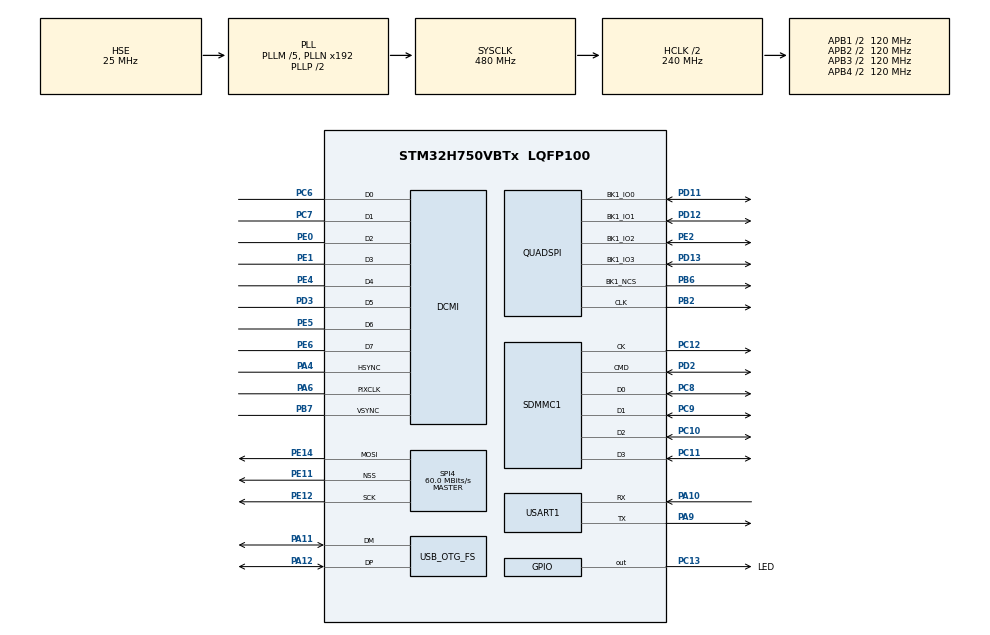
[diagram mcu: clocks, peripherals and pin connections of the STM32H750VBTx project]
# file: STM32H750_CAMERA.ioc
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CORTEX_M7.CPU_DCache=Enabled
CORTEX_M7.CPU_ICache=Enabled
CORTEX_M7.default_mode_Activation=0
Mcu.Family=STM32H7
Mcu.Name=STM32H750VBTx
Mcu.Package=LQFP100
NVIC.OTG_FS_IRQn=true\:0\:0\:false\:false\:true\:true\:true\:true
NVIC.PriorityGroup=NVIC_PRIORITYGROUP_4
PA10.GPIO_Speed=GPIO_SPEED_FREQ_VERY_HIGH
PA10.Mode=Asynchronous
PA10.Signal=USART1_RX
PA11.Mode=Device_Only
PA11.Signal=USB_OTG_FS_DM
PA12.Mode=Device_Only
PA12.Signal=USB_OTG_FS_DP
PA13\ (JTMS/SWDIO).Mode=Serial_Wire
PA13\ (JTMS/SWDIO).Signal=DEBUG_JTMS-SWDIO
PA14\ (JTCK/SWCLK).Mode=Serial_Wire
PA14\ (JTCK/SWCLK).Signal=DEBUG_JTCK-SWCLK
PA4.GPIO_Speed=GPIO_SPEED_FREQ_VERY_HIGH
PA4.Mode=Slave_8_bits_External_Synchro
PA4.Signal=DCMI_HSYNC
PA6.GPIO_Speed=GPIO_SPEED_FREQ_VERY_HIGH
PA6.Mode=Slave_8_bits_External_Synchro
PA6.Signal=DCMI_PIXCLK
PA9.GPIO_Speed=GPIO_SPEED_FREQ_VERY_HIGH
PA9.Mode=Asynchronous
PA9.Signal=USART1_TX
PB2.GPIO_Speed=GPIO_SPEED_FREQ_VERY_HIGH
PB2.Mode=Single Bank 1
PB2.Signal=QUADSPI_CLK
PB6.GPIO_Speed=GPIO_SPEED_FREQ_VERY_HIGH
PB6.Mode=Single Bank 1
PB6.Signal=QUADSPI_BK1_NCS
PB7.GPIO_Speed=GPIO_SPEED_FREQ_VERY_HIGH
PB7.Mode=Slave_8_bits_External_Synchro
PB7.Signal=DCMI_VSYNC
PC10.Mode=SD_4_bits_Wide_bus
PC10.Signal=SDMMC1_D2
PC11.Mode=SD_4_bits_Wide_bus
PC11.Signal=SDMMC1_D3
PC12.Mode=SD_4_bits_Wide_bus
PC12.Signal=SDMMC1_CK
PC13.GPIO_Label=LED
PC13.Signal=GPIO_Output
PC14-OSC32_IN\ (OSC32_IN).Mode=LSE-External-Oscillator
PC14-OSC32_IN\ (OSC32_IN).Signal=RCC_OSC32_IN
PC15-OSC32_OUT\ (OSC32_OUT).Mode=LSE-External-Oscillator
PC15-OSC32_OUT\ (OSC32_OUT).Signal=RCC_OSC32_OUT
PC6.GPIO_Speed=GPIO_SPEED_FREQ_VERY_HIGH
PC6.Mode=Slave_8_bits_External_Synchro
PC6.Signal=DCMI_D0
PC7.GPIO_Speed=GPIO_SPEED_FREQ_VERY_HIGH
PC7.Mode=Slave_8_bits_External_Synchro
PC7.Signal=DCMI_D1
PC8.Mode=SD_4_bits_Wide_bus
PC8.Signal=SDMMC1_D0
PC9.Mode=SD_4_bits_Wide_bus
PC9.Signal=SDMMC1_D1
PD11.GPIO_Speed=GPIO_SPEED_FREQ_VERY_HIGH
PD11.Mode=Single Bank 1
PD11.Signal=QUADSPI_BK1_IO0
PD12.GPIO_Speed=GPIO_SPEED_FREQ_VERY_HIGH
PD12.Mode=Single Bank 1
PD12.Signal=QUADSPI_BK1_IO1
PD13.GPIO_Speed=GPIO_SPEED_FREQ_VERY_HIGH
PD13.Mode=Single Bank 1
PD13.Signal=QUADSPI_BK1_IO3
PD2.Mode=SD_4_bits_Wide_bus
PD2.Signal=SDMMC1_CMD
PD3.GPIO_Speed=GPIO_SPEED_FREQ_VERY_HIGH
PD3.Mode=Slave_8_bits_External_Synchro
PD3.Signal=DCMI_D5
PE0.GPIO_Speed=GPIO_SPEED_FREQ_VERY_HIGH
PE0.Mode=Slave_8_bits_External_Synchro
PE0.Signal=DCMI_D2
PE1.GPIO_Speed=GPIO_SPEED_FREQ_VERY_HIGH
PE1.Mode=Slave_8_bits_External_Synchro
PE1.Signal=DCMI_D3
PE11.GPIO_Speed=GPIO_SPEED_FREQ_VERY_HIGH
PE11.Mode=NSS_Signal_Hard_Output
PE11.Signal=SPI4_NSS
PE12.GPIO_Speed=GPIO_SPEED_FREQ_VERY_HIGH
PE12.Mode=TX_Only_Simplex_Unidirect_Master
PE12.Signal=SPI4_SCK
PE14.GPIO_Speed=GPIO_SPEED_FREQ_VERY_HIGH
PE14.Mode=TX_Only_Simplex_Unidirect_Master
PE14.Signal=SPI4_MOSI
PE2.GPIO_Speed=GPIO_SPEED_FREQ_VERY_HIGH
PE2.Mode=Single Bank 1
PE2.Signal=QUADSPI_BK1_IO2
PE4.GPIO_Speed=GPIO_SPEED_FREQ_VERY_HIGH
PE4.Mode=Slave_8_bits_External_Synchro
PE4.Signal=DCMI_D4
PE5.GPIO_Speed=GPIO_SPEED_FREQ_VERY_HIGH
PE5.Mode=Slave_8_bits_External_Synchro
PE5.Signal=DCMI_D6
PE6.GPIO_Speed=GPIO_SPEED_FREQ_VERY_HIGH
PE6.Mode=Slave_8_bits_External_Synchro
PE6.Signal=DCMI_D7
PH0-OSC_IN\ (PH0).Mode=HSE-External-Oscillator
PH0-OSC_IN\ (PH0).Signal=RCC_OSC_IN
PH1-OSC_OUT\ (PH1).Mode=HSE-External-Oscillator
PH1-OSC_OUT\ (PH1).Signal=RCC_OSC_OUT
ProjectManager.HeapSize=0x200
ProjectManager.StackSize=0x400
ProjectManager.TargetToolchain=STM32CubeIDE
QUADSPI.ClockMode=QSPI_CLOCK_MODE_3
QUADSPI.ClockPrescaler=2
QUADSPI.FifoThreshold=32
QUADSPI.FlashSize=22
QUADSPI.SampleShifting=QSPI_SAMPLE_SHIFTING_HALFCYCLE
RCC.ADCFreq_Value=50390625
RCC.APB1Freq_Value=120000000
RCC.APB2Freq_Value=120000000
RCC.APB3Freq_Value=120000000
RCC.APB4Freq_Value=120000000
RCC.CortexFreq_Value=480000000
RCC.D1PPRE=RCC_APB3_DIV2
RCC.D2PPRE1=RCC_APB1_DIV2
RCC.D2PPRE2=RCC_APB2_DIV2
RCC.D3PPRE=RCC_APB4_DIV2
RCC.DIVM1=5
RCC.DIVN1=192
RCC.DIVQ1=4
RCC.HCLKFreq_Value=240000000
RCC.HPRE=RCC_HCLK_DIV2
RCC.PLLSourceVirtual=RCC_PLLSOURCE_HSE
RCC.RTCClockSelection=RCC_RTCCLKSOURCE_LSE
RCC.SYSCLKFreq_VALUE=480000000
RCC.SYSCLKSource=RCC_SYSCLKSOURCE_PLLCLK
RCC.USBCLockSelection=RCC_USBCLKSOURCE_HSI48
RCC.USBFreq_Value=48000000
SDMMC1.ClockDiv=6
SPI4.BaudRatePrescaler=SPI_BAUDRATEPRESCALER_2
SPI4.CalculateBaudRate=60.0 MBits/s
SPI4.DataSize=SPI_DATASIZE_8BIT
SPI4.Direction=SPI_DIRECTION_2LINES_TXONLY
SPI4.FifoThreshold=SPI_FIFO_THRESHOLD_02DATA
SPI4.Mode=SPI_MODE_MASTER
SPI4.VirtualNSS=VM_NSSHARD
SPI4.VirtualType=VM_MASTER
USART1.VirtualMode-Asynchronous=VM_ASYNC
USB_DEVICE.CLASS_NAME_FS=CDC
USB_DEVICE.VirtualMode-CDC_FS=Cdc
USB_DEVICE.VirtualModeFS=Cdc_FS
USB_OTG_FS.VirtualMode=Device_Only
VP_MEMORYMAP_VS_MEMORYMAP.Mode=CurAppReg
VP_RTC_VS_RTC_Activate.Mode=RTC_Enabled
VP_USB_DEVICE_VS_USB_DEVICE_CDC_FS.Mode=CDC_FS
board=custom

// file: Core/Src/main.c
/* USER CODE BEGIN Header */
/**
  ******************************************************************************
  * @file           : main.c
  * @brief          : Main program body
  ******************************************************************************
  * @attention
  *
  * Copyright (c) 2023 STMicroelectronics.
  * All rights reserved.
  *
  * This software is licensed under terms that can be found in the LICENSE file
  * in the root directory of this software component.
  * If no LICENSE file comes with this software, it is provided AS-IS.
  *
  ******************************************************************************
  */
/* USER CODE END Header */
#include "main.h"
#include "dcmi.h"
#include "quadspi.h"
#include "rtc.h"
#include "sdmmc.h"
#include "spi.h"
#include "usart.h"
#include "usb_device.h"
#include "gpio.h"

void SystemClock_Config(void);

/* USER CODE BEGIN 0 */

/*****************************************************************************************/
/* Camera buffer definition */
#define Camera_Buffer	0x24000000    // Camera image buffer

/******************************************************************************/

/* USER CODE END 0 */

int main(void)
{

  /* USER CODE BEGIN 1 */
	MPU_Config();				// Configure MPU
  SCB_EnableICache();
  SCB_EnableDCache();
  /* USER CODE END 1 */

  /* Enable the CPU Cache */

  /* Enable I-Cache---------------------------------------------------------*/
  SCB_EnableICache();

  /* Enable D-Cache---------------------------------------------------------*/
  SCB_EnableDCache();

  /* MCU Configuration--------------------------------------------------------*/

  /* Reset of all peripherals, Initializes the Flash interface and the Systick. */
  HAL_Init();

  /* Configure the system clock */
  SystemClock_Config();

  /* Initialize all configured peripherals */
  MX_GPIO_Init();
  MX_DCMI_Init();
  MX_QUADSPI_Init();
  MX_RTC_Init();
  MX_SDMMC1_SD_Init();
  MX_SPI4_Init();
  MX_USART1_UART_Init();
  MX_USB_DEVICE_Init();
  /* USER CODE BEGIN 2 */
  MX_GPIO_Init();
	MX_USART1_UART_Init();

//	SPI_LCD_Init();      // Initialize LCD and SPI
//
//	DCMI_OV2640_Init();     // Initialize DCMI and OV2640
//
//	OV2640_DMA_Transmit_Continuous(Camera_Buffer, OV2640_BufferSize);  // Start DMA transmission

//	OV2640_DMA_Transmit_Snapshot(Camera_Buffer, OV2640_BufferSize);	 // Start DMA snapshot mode
  /* USER CODE END 2 */

  /* Infinite loop */
  /* USER CODE BEGIN WHILE */
  while (1)
  {
//			if (DCMI_FrameState == 1)	// New frame captured
//		{
//  			DCMI_FrameState = 0;		// Clear flag
//
//         LCD_CopyBuffer(0,0,Display_Width,Display_Height, (uint16_t *)Camera_Buffer);	// Copy image data to screen
//
//			LCD_DisplayString( 84 ,240,"FPS:");
//			LCD_DisplayNumber( 132,240, OV2640_FPS,2) ;	// Display frame rate
//
//		}
    /* USER CODE END WHILE */

  }
}

void SystemClock_Config(void)
{
  RCC_OscInitTypeDef RCC_OscInitStruct = {0};
  RCC_ClkInitTypeDef RCC_ClkInitStruct = {0};

  /** Supply configuration update enable
  */
  HAL_PWREx_ConfigSupply(PWR_LDO_SUPPLY);

  /** Configure the main internal regulator output voltage
  */
  __HAL_PWR_VOLTAGESCALING_CONFIG(PWR_REGULATOR_VOLTAGE_SCALE0);

  while(!__HAL_PWR_GET_FLAG(PWR_FLAG_VOSRDY)) {}

  /** Configure LSE Drive Capability
  */
  HAL_PWR_EnableBkUpAccess();
  __HAL_RCC_LSEDRIVE_CONFIG(RCC_LSEDRIVE_LOW);

  /** Initializes the RCC Oscillators according to the specified parameters
  * in the RCC_OscInitTypeDef structure.
  */
  RCC_OscInitStruct.OscillatorType = RCC_OSCILLATORTYPE_HSI48|RCC_OSCILLATORTYPE_HSE
                              |RCC_OSCILLATORTYPE_LSE;
  RCC_OscInitStruct.HSEState = RCC_HSE_ON;
  RCC_OscInitStruct.LSEState = RCC_LSE_ON;
  RCC_OscInitStruct.HSI48State = RCC_HSI48_ON;
  RCC_OscInitStruct.PLL.PLLState = RCC_PLL_ON;
  RCC_OscInitStruct.PLL.PLLSource = RCC_PLLSOURCE_HSE;
  RCC_OscInitStruct.PLL.PLLM = 5;
  RCC_OscInitStruct.PLL.PLLN = 192;
  RCC_OscInitStruct.PLL.PLLP = 2;
  RCC_OscInitStruct.PLL.PLLQ = 4;
  RCC_OscInitStruct.PLL.PLLR = 2;
  RCC_OscInitStruct.PLL.PLLRGE = RCC_PLL1VCIRANGE_2;
  RCC_OscInitStruct.PLL.PLLVCOSEL = RCC_PLL1VCOWIDE;
  RCC_OscInitStruct.PLL.PLLFRACN = 0;
  if (HAL_RCC_OscConfig(&RCC_OscInitStruct) != HAL_OK)
  {
    Error_Handler();
  }

  /** Initializes the CPU, AHB and APB buses clocks
  */
  RCC_ClkInitStruct.ClockType = RCC_CLOCKTYPE_HCLK|RCC_CLOCKTYPE_SYSCLK
                              |RCC_CLOCKTYPE_PCLK1|RCC_CLOCKTYPE_PCLK2
                              |RCC_CLOCKTYPE_D3PCLK1|RCC_CLOCKTYPE_D1PCLK1;
  RCC_ClkInitStruct.SYSCLKSource = RCC_SYSCLKSOURCE_PLLCLK;
  RCC_ClkInitStruct.SYSCLKDivider = RCC_SYSCLK_DIV1;
  RCC_ClkInitStruct.AHBCLKDivider = RCC_HCLK_DIV2;
  RCC_ClkInitStruct.APB3CLKDivider = RCC_APB3_DIV2;
  RCC_ClkInitStruct.APB1CLKDivider = RCC_APB1_DIV2;
  RCC_ClkInitStruct.APB2CLKDivider = RCC_APB2_DIV2;
  RCC_ClkInitStruct.APB4CLKDivider = RCC_APB4_DIV2;

  if (HAL_RCC_ClockConfig(&RCC_ClkInitStruct, FLASH_LATENCY_4) != HAL_OK)
  {
    Error_Handler();
  }
}

/* USER CODE BEGIN 4 */
/**
  * @brief  Configure MPU for camera functionality
  * @retval None
  */
void MPU_Config(void)
{
	MPU_Region_InitTypeDef MPU_InitStruct = {0};

	/* Disable the MPU */
	HAL_MPU_Disable();

	/* Configure the MPU attributes as WT for SRAM */
	MPU_InitStruct.Number = MPU_REGION_NUMBER0;
	MPU_InitStruct.BaseAddress = 0x24000000;
	MPU_InitStruct.Size = MPU_REGION_SIZE_512KB;
	MPU_InitStruct.SubRegionDisable = 0x00;
	MPU_InitStruct.AccessPermission = MPU_REGION_FULL_ACCESS;
	MPU_InitStruct.DisableExec = MPU_INSTRUCTION_ACCESS_ENABLE;
	MPU_InitStruct.IsShareable = MPU_ACCESS_NOT_SHAREABLE;
	MPU_InitStruct.IsCacheable = MPU_ACCESS_CACHEABLE;
	MPU_InitStruct.IsBufferable = MPU_ACCESS_NOT_BUFFERABLE;

	HAL_MPU_ConfigRegion(&MPU_InitStruct);

	/* Enable the MPU */
	HAL_MPU_Enable(MPU_PRIVILEGED_DEFAULT);
}
/* USER CODE END 4 */

void Error_Handler(void)
{
  __disable_irq();
  while (1)
  {
  }
}
